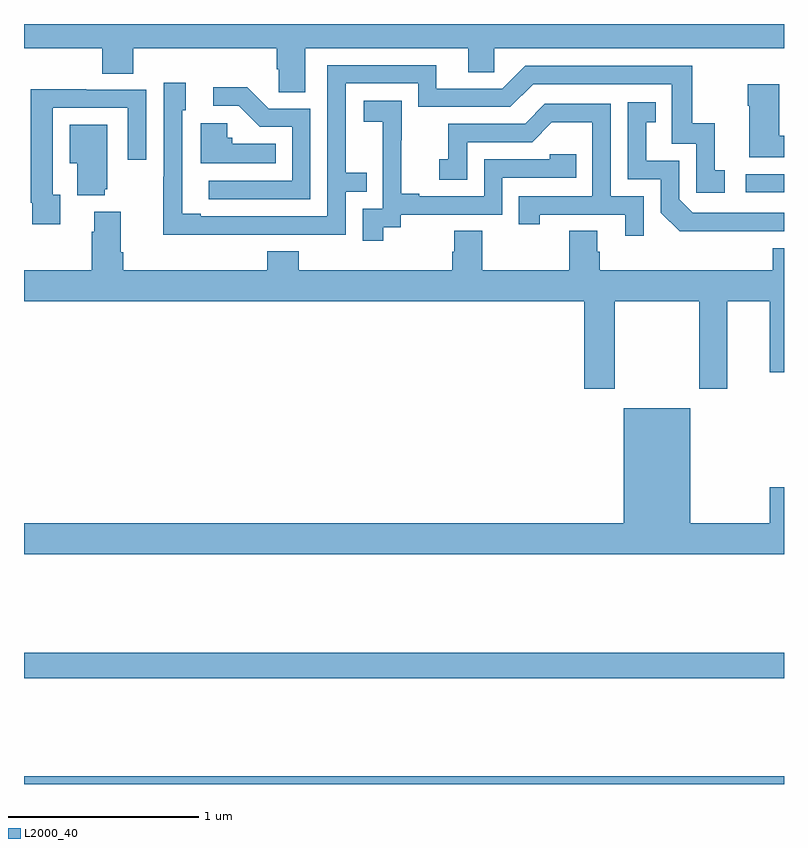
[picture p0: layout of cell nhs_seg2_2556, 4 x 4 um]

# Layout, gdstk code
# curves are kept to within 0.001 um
import gdstk
lib = gdstk.Library(unit=1e-6, precision=1e-09)
def R(c, l, rs):  # rectangles x0, y0, x1, y1
    for r in rs: c.add(gdstk.rectangle(r[:2], r[2:], *l))
def P(c, l, *ps):  # polygons
    for p in ps: c.add(gdstk.Polygon(p, *l))
L2000_40 = (2000, 40)

nhs_seg2_2556 = lib.new_cell('nhs_seg2_2556')
R(nhs_seg2_2556, L2000_40, [(245,607.8,249,607.84), (245,608.356,249,608.492), (248.799,610.914,249,611.01)])
P(nhs_seg2_2556, L2000_40, [(246.481,611.672),(247.337,611.672),(247.337,611.545),(247.476,611.545),(247.476,611.672),(249,611.672),(249,611.8),(245,611.8),(245,611.672),(245.411,611.672),(245.411,611.539),(245.576,611.539),(245.576,611.672),(246.329,611.672),(246.329,611.563),(246.342,611.563),(246.342,611.44),(246.481,611.44)],
  [(246.197,610.692),(246.693,610.692),(246.693,610.917),(246.803,610.917),(246.803,611.018),(246.693,611.018),(246.693,611.487),(247.074,611.487),(247.074,611.364),(247.56,611.364),(247.68,611.484),(248.409,611.484),(248.409,611.169),(248.538,611.169),(248.538,610.911),(248.689,610.911),(248.689,611.031),(248.636,611.031),(248.636,611.278),(248.518,611.278),(248.518,611.58),(247.638,611.58),(247.518,611.46),(247.171,611.46),(247.171,611.583),(246.597,611.583),(246.597,610.788),(245.929,610.788),(245.929,610.801),(245.832,610.801),(245.832,611.346),(245.851,611.346),(245.851,611.491),(245.736,611.491),(245.736,610.997),(245.734,610.997),(245.734,610.691)],
  [(249,611.213),(248.974,611.213),(248.974,611.482),(248.809,611.482),(248.809,611.369),(248.816,611.369),(248.816,611.099),(249,611.099)],
  [(246.507,611.355),(246.288,611.355),(246.175,611.468),(245.997,611.468),(245.997,611.37),(246.131,611.37),(246.242,611.259),(246.411,611.259),(246.411,610.974),(245.973,610.974),(245.973,610.878),(246.507,610.878)],
  [(245.191,610.902),(245.151,610.902),(245.151,611.358),(245.547,611.358),(245.547,611.085),(245.643,611.085),(245.643,611.454),(245.327,611.454),(245.327,611.456),(245.035,611.456),(245.035,610.858),(245.043,610.858),(245.043,610.746),(245.191,610.746)],
  [(246.892,610.729),(246.984,610.729),(246.984,610.797),(247.518,610.797),(247.518,610.992),(247.907,610.992),(247.907,611.115),(247.767,611.115),(247.767,611.088),(247.422,611.088),(247.422,610.893),(247.081,610.893),(247.081,610.906),(246.986,610.906),(246.986,611.189),(246.987,611.189),(246.987,611.395),(246.789,611.395),(246.789,611.285),(246.887,611.285),(246.887,611.057),(246.888,611.057),(246.888,610.827),(246.783,610.827),(246.783,610.659),(246.892,610.659)],
  [(248.858,610.71),(249,610.71),(249,610.806),(248.52,610.806),(248.448,610.878),(248.448,611.079),(248.275,611.079),(248.275,611.283),(248.324,611.283),(248.324,611.389),(248.178,611.389),(248.178,610.983),(248.352,610.983),(248.352,610.806),(248.45,610.709)],
  [(248.262,610.893),(248.088,610.893),(248.088,611.379),(247.742,611.379),(247.637,611.274),(247.234,611.274),(247.234,611.089),(247.185,611.089),(247.185,610.98),(247.332,610.98),(247.332,611.178),(247.674,611.178),(247.778,611.282),(247.992,611.282),(247.992,610.893),(247.603,610.893),(247.603,610.746),(247.714,610.746),(247.714,610.797),(248.165,610.797),(248.165,610.686),(248.262,610.686)],
  [(246.326,611.17),(246.096,611.17),(246.096,611.202),(246.069,611.202),(246.069,611.278),(245.93,611.278),(245.93,611.066),(246.326,611.066)],
  [(245.426,610.929),(245.437,610.929),(245.437,611.269),(245.24,611.269),(245.24,611.066),(245.279,611.066),(245.279,610.898),(245.426,610.898)],
  [(248.109,610.34),(248.554,610.34),(248.554,609.879),(248.701,609.879),(248.701,610.34),(248.924,610.34),(248.924,609.966),(249,609.966),(249,610.621),(248.942,610.621),(248.942,610.504),(248.03,610.504),(248.03,610.602),(248.017,610.602),(248.017,610.712),(247.87,610.712),(247.87,610.504),(247.413,610.504),(247.413,610.712),(247.265,610.712),(247.265,610.602),(247.253,610.602),(247.253,610.504),(246.446,610.504),(246.446,610.603),(246.281,610.603),(246.281,610.504),(245.522,610.504),(245.522,610.6),(245.509,610.6),(245.509,610.813),(245.369,610.813),(245.369,610.706),(245.357,610.706),(245.357,610.504),(245,610.504),(245,610.34),(247.949,610.34),(247.949,609.879),(248.109,609.879)],
  [(249,609.361),(248.924,609.361),(248.924,609.172),(248.506,609.172),(248.506,609.778),(248.156,609.778),(248.156,609.172),(245,609.172),(245,609.008),(249,609.008)])

lib.write_gds('nhs_seg2_2556.gds')
